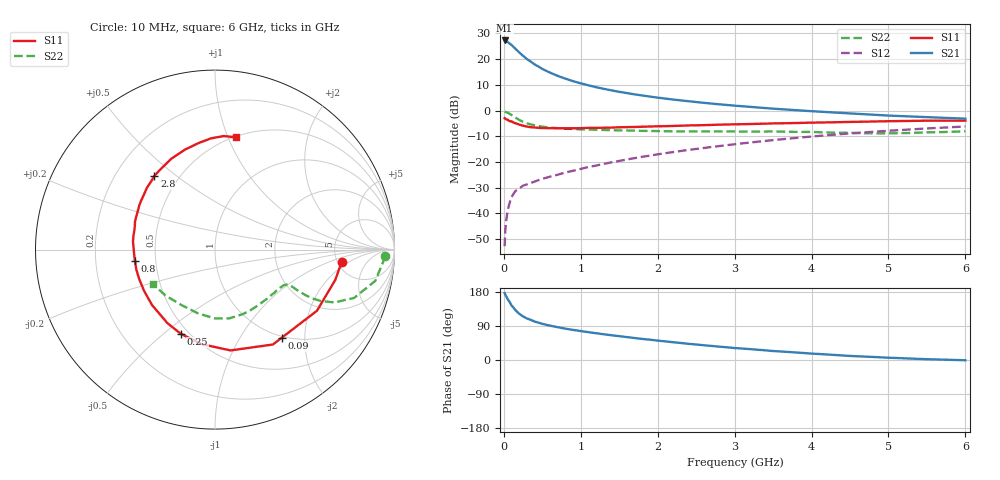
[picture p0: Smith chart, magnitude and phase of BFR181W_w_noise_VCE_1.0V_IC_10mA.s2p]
! Infineon Technologies  Discrete & RF Semiconductors
! BFR181W
! VCE =  1.0 V,  IC =  10 mA
! Common Emitter S-Parameters:  Jan 2017
# GHz  S  MA  R  50
!  f  S11  S21  S12  S22
! GHz  MAG  ANG  MAG  ANG  MAG  ANG  MAG  ANG
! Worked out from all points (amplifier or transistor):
!   77 points, 10 MHz to 6 GHz, reference 50 ohm
!   highest |S21| = 27.2 dB at 10 MHz (marker M1)
!   |S21| within 3 dB of that: start of sweep to 143 MHz
!   unconditionally stable (mu >= 1): 535 MHz to 3.524 GHz
!   at 130 MHz: K = 0.38, MSG = 28.4 dB, |S12| = -32.2 dB
!   at 2.2 GHz: K = 1.19, MAG = 7.6 dB, |S12| = -16.2 dB
!   at 6 GHz: K = 0.98, MSG = 1.5 dB, |S12| = -6.2 dB
!   lowest NFmin = 1.24 dB at 450 MHz
!   S11 on the Smith chart (normalised r, x): 10 MHz: 5.42, -1.53; 90 MHz: 0.98, -1.54; 250 MHz: 0.45, -0.57; 800 MHz: 0.38, -0.06; 2.8 GHz: 0.37, +0.42; 6 GHz: 0.51, +1.07
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0.01  0.7087 -5.7  23.03 176.8  0.0023 87.7  0.9502 -2.2
0.02  0.6912 -14.1  22.66 172.0  0.0049 89.8  0.9384 -4.3
0.05  0.6623 -31.0  21.61 160.6  0.0113 75.6  0.9104 -11.0
0.09  0.616 -52.9  19.24 147.6  0.0188 67.1  0.8368 -17.4
0.1  0.6194 -58.6  18.83 143.9  0.0207 66.0  0.8202 -19.2
0.15  0.5686 -81.2  15.95 131.6  0.0271 58.7  0.7289 -23.8
0.2  0.5317 -98.1  13.46 122.0  0.0302 55.2  0.6563 -25.9
0.25  0.5063 -112.1  11.56 115.0  0.0347 53.2  0.6027 -26.7
0.3  0.488 -122.9  10.02 109.6  0.0365 52.5  0.5629 -26.7
0.4  0.4674 -138.7  7.885 101.4  0.0415 53.1  0.5133 -26.3
0.5  0.457 -150.1  6.444 95.5  0.0469 54.6  0.4845 -25.8
0.6  0.4531 -158.8  5.453 90.6  0.0517 56.5  0.4662 -25.5
0.8  0.4508 -172.0  4.166 82.7  0.0624 61.0  0.4443 -26.0
0.9  0.4513 -177.1  3.721 79.4  0.0673 62.2  0.4371 -26.8
1.1  0.4593 174.3  3.087 73.5  0.0799 65.0  0.4266 -28.7
1.5  0.4723 160.7  2.309 62.9  0.1046 67.7  0.4108 -34.3
2.1  0.4962 144.7  1.706 49.1  0.1479 68.1  0.3957 -46.1
2.8  0.5308 129.5  1.32 35.2  0.2035 65.8  0.3917 -62.3
3.1  0.5419 123.5  1.21 30.2  0.2295 63.8  0.3899 -69.2
4.1  0.5839 105.4  0.951 15.8  0.3208 55.7  0.3781 -93.2
5.1  0.6219 91.0  0.786 5.3  0.4121 45.2  0.3618 -124.5
6  0.6367 79.6  0.694 -0.7  0.4891 34.9  0.3948 -150.8
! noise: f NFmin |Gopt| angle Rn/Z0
0.45  1.24  0.15  16  0.21
0.9  1.29  0.14  31  0.21
1.9  1.71  0.03  142  0.2
2.4  1.88  0.02  -166  0.24
